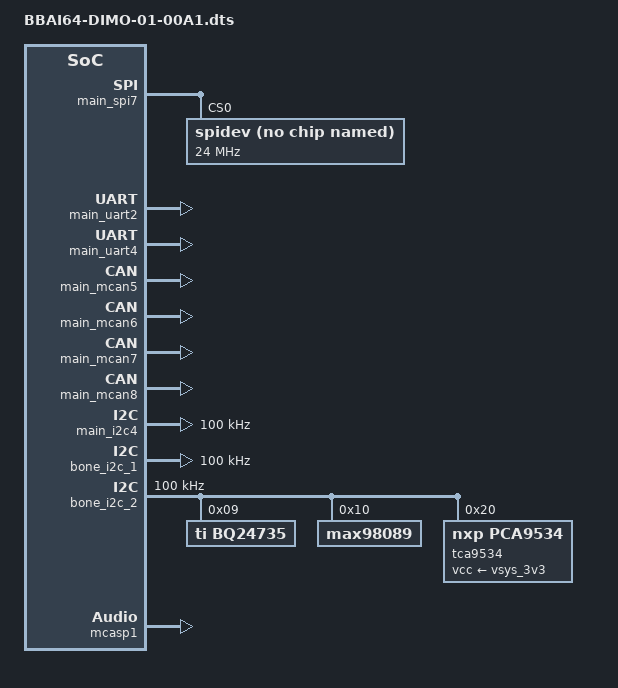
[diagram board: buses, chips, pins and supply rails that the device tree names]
// SPDX-License-Identifier: GPL-2.0-only

/dts-v1/;
/plugin/;

#include <dt-bindings/pinctrl/k3.h>
#include <dt-bindings/board/k3-j721e-bone-pins.h>
#include <dt-bindings/interrupt-controller/irq.h>
#include <dt-bindings/interrupt-controller/arm-gic.h>
#include <dt-bindings/soc/ti,sci_pm_domain.h>

/*
 * Helper to show loaded overlays under: /proc/device-tree/chosen/overlays/
 */
&{/chosen} {
	overlays {
		BBAI64-DIMO-01-0001.bb.org-overlays = __TIMESTAMP__;
	};
};

&main_pmx0 {
	cape_uart4_pins_default: cape_uart4_pins_default {
		pinctrl-single,pins = <
			J721E_IOPAD(0x100, PIN_INPUT, 8) /* (AE29) PRG0_PRU1_GPO0.UART4_CTSn */
			J721E_IOPAD(0x104, PIN_OUTPUT, 8) /* (AD28) PRG0_PRU1_GPO1.UART4_RTSn */
			J721E_IOPAD(0xe8, PIN_INPUT, 8) /* (AG28) PRG0_PRU0_GPO14.UART4_RXD */
			J721E_IOPAD(0xec, PIN_OUTPUT, 8) /* (AG27) PRG0_PRU0_GPO15.UART4_TXD */
		>;
	};

  cape_mcasp1_pins_default: cape_mcasp1_pins_default {
		pinctrl-single,pins = <
			J721E_IOPAD(0x108, PIN_INPUT, 12) /* (AD27) PRG0_PRU1_GPO2.MCASP1_ACLKR */
			J721E_IOPAD(0x114, PIN_INPUT, 12) /* (AB27) PRG0_PRU1_GPO5.MCASP1_ACLKX */
			J721E_IOPAD(0x120, PIN_INPUT, 12) /* (AA28) PRG0_PRU1_GPO8.MCASP1_AFSX */
			J721E_IOPAD(0x110, PIN_INPUT, 12) /* (AD29) PRG0_PRU1_GPO4.MCASP1_AXR2 */
			J721E_IOPAD(0x118, PIN_INPUT, 12) /* (AC26) PRG0_PRU1_GPO6.MCASP1_AXR3 */
		>;
	};

  i2c4_dsi_pins_default: i2c4_dsi_pins_default {
		pinctrl-single,pins = <
			J721E_IOPAD(0xa8, PIN_INPUT_PULLUP, 2) /* (AD19) PRG1_MDIO0_MDIO.I2C4_SCL */
			J721E_IOPAD(0xac, PIN_INPUT_PULLUP, 2) /* (AD18) PRG1_MDIO0_MDC.I2C4_SDA */
		>;
	};

  mcan6_pins_default: mcan6_pins_default {
		pinctrl-single,pins = <
			J721E_IOPAD(0x44, PIN_INPUT, 6)	/* AE24: PRG1_PRU0_GPO16 AE24_MCAN6_RX */
      J721E_IOPAD(0x40, PIN_OUTPUT, 6)	/* AC24: PRG1_PRU0_GPO15 AC24_MCAN6_TX */
		>;
	};

  mcan7_pins_default: mcan7_pins_default {
		pinctrl-single,pins = <
      J721E_IOPAD(0x8C, PIN_INPUT, 6)	/* AG25: PRG1_PRU1_GPO13 AG25_MCAN7_RX */
			J721E_IOPAD(0x88, PIN_OUTPUT, 6)	/* AH25: PRG1_PRU1_GPO12 AH25_MCAN7_TX */
		>;
	};
  
  mcan8_pins_default: mcan8_pins_default {
		pinctrl-single,pins = <
      J721E_IOPAD(0x80, PIN_INPUT, 6)	/* AB23: PRG1_PRU1_GPO10 AB23_MCAN8_RX */
			J721E_IOPAD(0x7C, PIN_OUTPUT, 6)	/* AF21: PRG1_PRU1_GPO9 AF21_MCAN8_TX */
		>;
	};
  spi7_pins_default: spi1_pins_default {
		pinctrl-single,pins = <
			J721E_IOPAD(0x234, PIN_INPUT, 6) /* (U3) EXT_REFCLK1.SPI7_CLK */
			J721E_IOPAD(0x230, PIN_INPUT, 6) /* (U2) ECAP0_IN_APWM_OUT.SPI7_CS0 */
			J721E_IOPAD(0x238, PIN_INPUT, 6) /* (V6) TIMER_IO0.SPI7_D0 */
			J721E_IOPAD(0x23c, PIN_INPUT, 6) /* (V5) TIMER_IO1.SPI7_D1 */
		>;
	};
};

&cape_header {
	pinctrl-names = "default";
	pinctrl-0 = <
    &P8_07_can_pin /* MCAN5 TX */
    &P8_08_can_pin /* MCAN5 RX */
    &P8_14_gpio_pin /* MCAN5 STB */
    &P8_26_gpio_pin 
    &P8_04_gpio_pin
    &P8_18_gpio_pin

    &P9_11_uart_pin   /* UART0 RXD */
    &P9_13_uart_pin   /* UART0 TXD */

    &P8_22_uart_pin   /* UART2 RXD */
    &P8_34_uart_pin   /* UART2 TXD */
    &P9_40_gpio_pin
    &P9_24_gpio_pin

    &P9_20_i2c_pin /* i2c2_sda */
		&P9_19_i2c_pin /* i2c2_scl */

    &P9_18_i2c_pin /* i2c6_sda */
		&P9_17_i2c_pin /* i2c6_scl */
  >;
};

&{/} {
	main_spi7: spi@2170000 {
    compatible = "ti,omap4-mcspi";
    reg = <0x0 0x2170000 0x0 0x400>;
    interrupts = <GIC_SPI 191 IRQ_TYPE_LEVEL_HIGH>;
    #address-cells = <1>;
		#size-cells = <0>;
    clock-names = "fck";
    clocks = <&k3_clks 191 1>;
    power-domains = <&k3_pds 191 TI_SCI_PD_EXCLUSIVE>;
  };

  sound {
    compatible = "simple-audio-card";
    simple-audio-card,name = "MAX98089";
    simple-audio-card,format = "i2s";
    simple-audio-card,bitclock-master = <&sound_master>;
    simple-audio-card,frame-master = <&sound_master>;

    simple-audio-card,cpu {
      sound-dai = <&mcasp1>;
    };
    sound_master: simple-audio-card,codec {
      sound-dai = <&max98089>;
      clocks = <&clk_mcasp1_fixed>;
      clock-names = "mclk";
    };
  };

  clk_mcasp1_fixed: clk_mcasp1_fixed {
    #clock-cells = <0>;
    compatible = "fixed-clock";
    clock-frequency = <24576000>;
	};
};

&main_spi7 {
	ti,spi-num-cs = <1>;
	pinctrl-names = "default";
	pinctrl-0 = <&spi7_pins_default>;

	status = "okay";

	spidev@0 {
		compatible = "linux,spidev";
		reg = <0>;	/* CE0 */
		spi-max-frequency = <24000000>;
	};
};

&main_uart2 {
  pinctrl-names = "default";
	pinctrl-0 = <
    &P8_22_uart_pin   /* UART2 RXD */
    &P8_34_uart_pin   /* UART2 TXD */
  >;

  status = "okay";
};

&main_uart4 {
  pinctrl-names = "default";
	pinctrl-0 = <&cape_uart4_pins_default>;

  status = "okay";
};

&main_mcan5 {
  pinctrl-names = "default";
	pinctrl-0 = <
		&P8_07_can_pin  	/* MCAN5 TX */
    &P8_08_can_pin		/* MCAN5 RX */
	>;

	status = "okay";
};

&main_mcan6 {
  pinctrl-names = "default";
	pinctrl-0 = <&mcan6_pins_default>;

	status = "okay";
};

&main_mcan7 {
  pinctrl-names = "default";
	pinctrl-0 = <&mcan7_pins_default>;

	status = "okay";
};

&main_mcan8 {
  pinctrl-names = "default";
	pinctrl-0 = <&mcan8_pins_default>;

	status = "okay";
};

&mcu_i2c0 {
  status = "disabled";
};

&mcu_i2c1 {
  status = "disabled";
};

&wkup_i2c0 {
  status = "disabled";
};

&main_i2c4 {
  pinctrl-names = "default";
	pinctrl-0 = <&i2c4_dsi_pins_default>;
	clock-frequency = <100000>;

  status = "okay";
};

/* main i2c-6 */
&bone_i2c_1 {
  clock-frequency = <100000>;
  
  status = "okay";
};

/* main i2c-2 */
&bone_i2c_2 {
  clock-frequency = <100000>;
  
  #address-cells = <1>;
  #size-cells = <0>;

  status = "okay";

  bq24735@9 {
    compatible = "ti,bq24735";
    reg = <0x9>;

    status = "okay";
  };

  max98089: max98089@10 {
    #sound-dai-cells = <0>;
    compatible = "max98089";
    reg = <0x10>;
    clocks = <&clk_mcasp1_fixed>;
    clock-names = "mclk";

    status = "okay";
  };

  tca9534: gpio@20 {
    compatible = "nxp,pca9534";
    reg = <0x20>;
    vcc-supply = <&vsys_3v3>;
    gpio-controller;
    #gpio-cells = <2>;

    status = "okay";
  };
};

&mcasp1 {
  #sound-dai-cells = <0>;
  status = "okay";

  pinctrl-names = "default";
  pinctrl-0 = <&cape_mcasp1_pins_default>;
  op-mode = <0>; /* MCASP_IIS_MODE */
  tdm-slots = <2>;
  serial-dir = < /* 0: INACTIVE, 1: INACTIVE, 2: TX, 3: RX, INACTIVE */
    0 0 1 2 0 0 0 0 0 0 0 0 0 0 0 0
  >;
  tx-num-evt = <32>;
  rx-num-evt = <32>;
};
